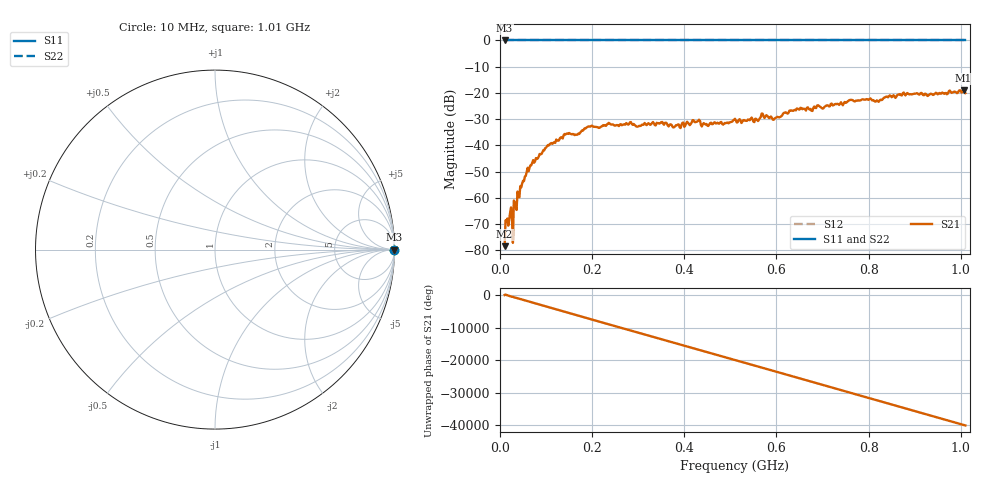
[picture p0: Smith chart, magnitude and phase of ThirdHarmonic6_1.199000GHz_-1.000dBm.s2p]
! 8/16/2025 12:24:07 PM
! C:\ANRITSUVNA\TEMP\TEMP.S2P
! CHANNEL.1
! TR.MEASUREMENT
! RAW.DATA
! RF.CORRECTION.OFF
! AVERAGING.OFF
! IF.BANDWIDTH: 5KHZ
! SWEEPTYPE:  FREQ.SWEEP(Linear)
! Reference Plane Port Info
! PORT:  PORT1  PORT2
! DISTANCE:  0  m  0  m
! TIME:  0  s  0  s
! PHASE.OFFSET:  0  deg.  0  deg.
! LOSS:  0  dB  0  dB
! REF.LOSS:  0  dB  0  dB
! REF.FREQ:  0  Hz  0  Hz
! Power Info
! POWER:  -20  dBm  -20  dBm
! EFF.POWER:  -20  dBm  -20  dBm
! SOURCE.ATTEN:  0  dB  0  dB
! TEST.ATTEN:  0  dB  0  dB
# GHZ S RI R 50.0
! FREQ.GHZ  S11RE  S11IM  S21RE  S21IM  S12RE  S12IM  S22RE  S22IM
!; PortSelection: Port_12
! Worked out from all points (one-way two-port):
!   501 points, 10 MHz to 1.01 GHz, reference 50 ohm
!   highest |S21| = -18.92 dB at 1.006 GHz (marker M1); lowest = -78.4 dB at 10 MHz (marker M2)
!   lowest |S11| = 0.0 dB at 10 MHz (marker M3)
!   |S11| at or under -10 dB: nowhere
!   |S22| runs from 0.0 to 0.0 dB; largest |S21 - S12| = 1.1
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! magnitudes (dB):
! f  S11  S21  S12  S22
! 10 MHz  0.0  -78.4  0.0  0.0
! 16 MHz  0.0  -67.9  0.0  0.0
! 20 MHz  0.0  -68.0  0.0  0.0
! 24 MHz  0.0  -63.7  0.0  0.0
! 32 MHz  0.0  -61.6  0.0  0.0
! 34 MHz  0.0  -63.3  0.0  0.0
! 68 MHz  0.0  -47.5  0.0  0.0
! 108 MHz  0.0  -39.5  0.0  0.0
! 142 MHz  0.0  -35.8  0.0  0.0
! 178 MHz  0.0  -34.3  0.0  0.0
! 236 MHz  0.0  -31.4  0.0  0.0
! 344 MHz  0.0  -31.5  0.0  0.0
! 378 MHz  0.0  -33.0  0.0  0.0
! 510 MHz  0.0  -29.9  0.0  0.0
! 556 MHz  0.0  -29.9  0.0  0.0
! 572 MHz  0.0  -28.9  0.0  0.0
! 596 MHz  0.0  -29.7  0.0  0.0
! 632 MHz  0.0  -26.6  0.0  0.0
! 678 MHz  0.0  -26.9  0.0  0.0
! 844 MHz  0.0  -21.3  0.0  0.0
! 1.006 GHz  0.0  -18.9  0.0  0.0
! 1.01 GHz  0.0  -20.1  0.0  0.0
